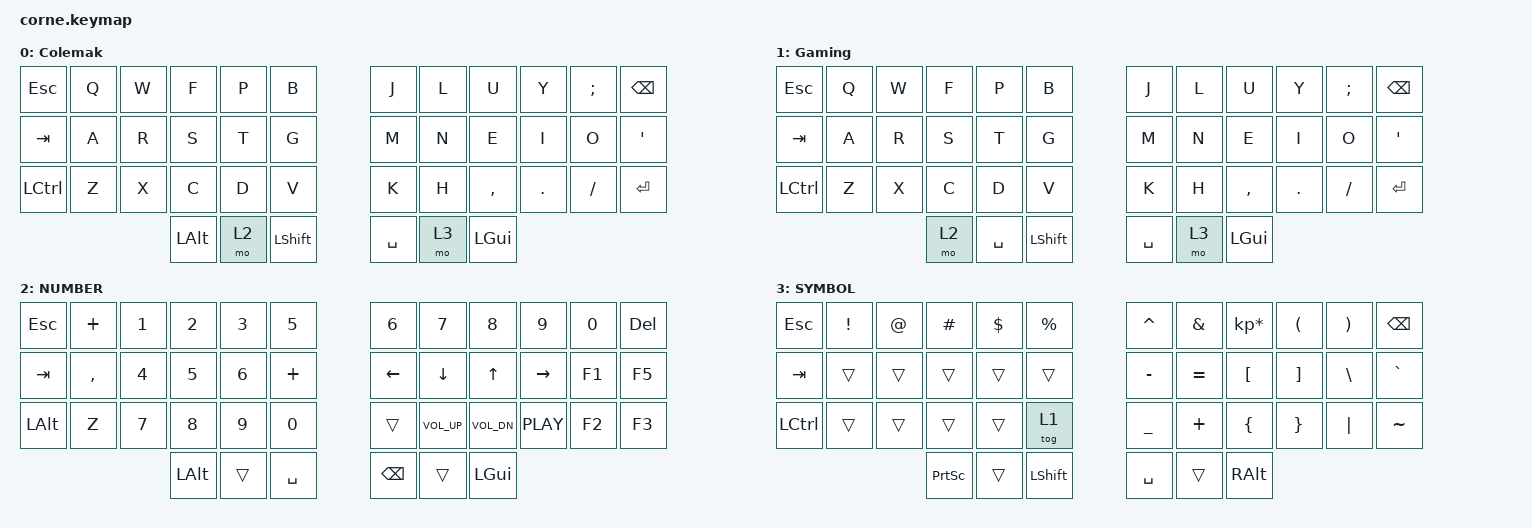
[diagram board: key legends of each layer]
#include <behaviors.dtsi>
#include <dt-bindings/zmk/keys.h>
#include <dt-bindings/zmk/bt.h>

/ {
  chosen {
    zmk,matrix_transform = &default_transform;
    //zmk,matrix_transform = &five_column_transform;
  };
};

/ {
        keymap {
                compatible = "zmk,keymap";

                default_layer {
                        label = "Colemak";
// -----------------------------------------------------------------------------------------
// | ESC |  Q  |  W  |  F  |  P  |  B  |   |  J  |  L   |  U  |  Y  |  ;  | BKSP |
// | TAB |  A  |  R  |  S  |  T  |  G  |   |  M  |  N   |  E  |  I  |  O  |  '   |
// | CTRL |  Z  |  X  |  C  |  D  |  V  |   |  K  |  H   |  ,  |  .  |  /  | ENT  |
//                    | ALT | LWR | SHFT |   | SPC | RSE  | GUI |
                        bindings = <
   &kp ESC   &kp Q &kp W &kp F &kp P &kp B   &kp J &kp L  &kp U     &kp Y   &kp SEMI    &kp BSPC
   &kp TAB  &kp A &kp R &kp S &kp T &kp G   &kp M &kp N  &kp E     &kp I   &kp O &kp SQT
   &kp LCTRL &kp Z &kp X &kp C &kp D &kp V   &kp K &kp H  &kp COMMA &kp DOT &kp FSLH &kp RET
                  &kp LALT &mo 2 &kp LSHFT   &kp SPACE &mo 3 &kp LGUI
                        >;
                };
                gaming_layer {
                        label = "Gaming";
// -----------------------------------------------------------------------------------------
// | ESC |  Q  |  W  |  F  |  P  |  B  |   |  J  |  L   |  U  |  Y  |  ;  | BKSP |
// | TAB |  A  |  R  |  S  |  T  |  G  |   |  M  |  N   |  E  |  I  |  O  |  '   |
// | CTRL |  Z  |  X  |  C  |  D  |  V  |   |  K  |  H   |  ,  |  .  |  /  | ENT  |
//                    | ALT | LWR | SHFT |   | SPC | RSE  | GUI |
                        bindings = <
   &kp ESC   &kp Q &kp W &kp F &kp P &kp B   &kp J &kp L  &kp U     &kp Y   &kp SEMI    &kp BSPC
   &kp TAB  &kp A &kp R &kp S &kp T &kp G   &kp M &kp N  &kp E     &kp I   &kp O &kp SQT
   &kp LCTRL &kp Z &kp X &kp C &kp D &kp V   &kp K &kp H  &kp COMMA &kp DOT &kp FSLH &kp RET
                  &mo 2  &kp SPACE &kp LSHFT   &kp SPACE &mo 3 &kp LGUI
                        >;
                };
                lower_layer {
                        label = "NUMBER";
// -----------------------------------------------------------------------------------------
// |  TAB |  +  |  1  |  2  |  3  |  5  |   |  6  |  7  |  8  |  9  |  0  | Del |
// |  TAB | .   |  4  |  5  |  6  |  +  |   | LFT | DWN |  UP | RGT |     |      |
// |  ALT |     |  7  |  8  |  9  |  0  |   |     |     |     |     |     |      |
//                    | ALT |     | SHFT |   | BKSP |     | GUI |
                        bindings = <
   &kp ESC    &kp PLUS &kp N1       &kp N2       &kp N3       &kp N5         &kp N6   &kp N7   &kp N8 &kp N9  &kp N0 &kp DEL
   &kp TAB  &kp COMMA &kp N4       &kp N5       &kp N6       &kp PLUS   &kp LEFT &kp DOWN &kp UP &kp RIGHT &kp F1 &kp F5
   &kp LALT  &kp Z  &kp N7   &kp N8       &kp N9       &kp N0         &trans    &kp C_VOL_UP   &kp C_VOL_DN &kp C_PLAY    &kp F2 &kp F3
                          	        &kp LALT    &trans       &kp SPACE      &kp BSPC  &trans   &kp LGUI
                        >;
                };

                raise_layer {
                        label = "SYMBOL";
// -----------------------------------------------------------------------------------------
// |  TAB |  !  |  @  |  #  |  $  |  %  |   |  ^  |  &  |  *  |  (  |  )  | BKSP |
// | BTCL | BTC | BT0 | BT1 | BT2 |     |   |  -  |  =  |  [  |  ]  |  \  |  `   |
// | SHFT |     |     |     |     |     |   |  _  |  +  |  {  |  }  | "|" |  ~   |
//                    | GUI |     | BKSP |   | spce |     | ALT |
                        bindings = <
   &kp ESC  &kp EXCL &kp AT &kp HASH &kp DLLR &kp PRCNT   &kp CARET &kp AMPS  &kp KP_MULTIPLY &kp LPAR &kp RPAR &kp BSPC
   &kp TAB  &trans &trans  &trans &trans   &trans      &kp MINUS &kp EQUAL &kp LBKT  &kp RBKT &kp BSLH &kp GRAVE
   &kp LCTRL &trans   &trans &trans   &trans   &tog 1      &kp UNDER &kp PLUS  &kp LBRC        &kp RBRC &kp PIPE &kp TILDE
                    	     &kp PSCRN &trans   &kp LSHIFT   &kp SPACE   &trans    &kp RALT 
                        >;
                };
        };
};
